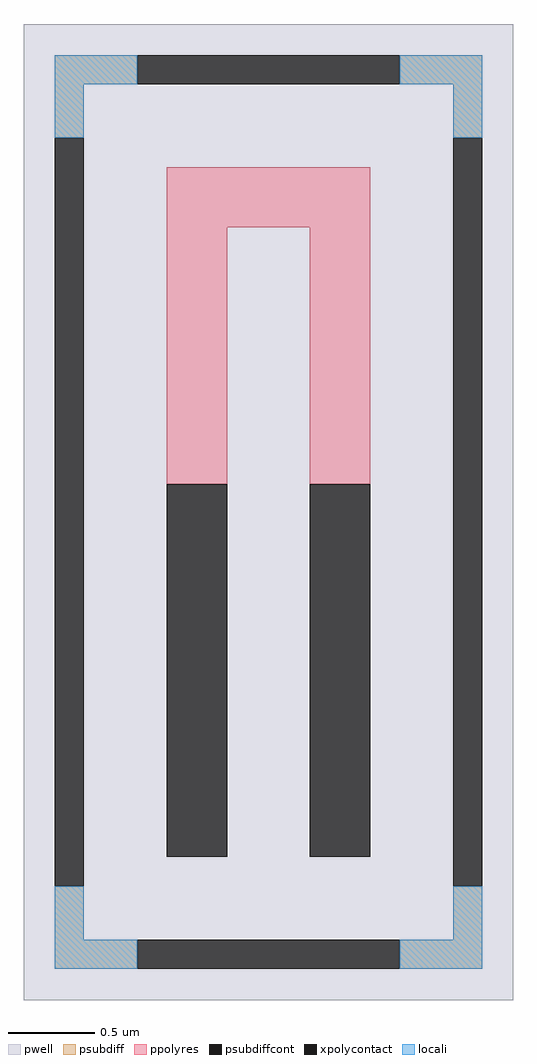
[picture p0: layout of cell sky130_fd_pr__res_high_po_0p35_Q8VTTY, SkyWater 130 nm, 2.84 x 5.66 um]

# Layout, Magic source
magic
tech sky130A
<< pwell >>
rect -142 -283 142 283
<< psubdiff >>
rect -124 248 -76 265
rect 76 248 124 265
rect -124 217 -107 248
rect 107 217 124 248
rect -124 -248 -107 -217
rect 107 -248 124 -217
rect -124 -265 -76 -248
rect 76 -265 124 -248
<< psubdiffcont >>
rect -76 248 76 265
rect -124 -217 -107 217
rect 107 -217 124 217
rect -76 -265 76 -248
<< xpolycontact >>
rect -59 -200 -24 16
rect 24 -200 59 16
<< ppolyres >>
rect -59 165 59 200
rect -59 16 -24 165
rect 24 16 59 165
<< locali >>
rect -124 248 -76 265
rect 76 248 124 265
rect -124 217 -107 248
rect 107 217 124 248
rect -124 -248 -107 -217
rect 107 -248 124 -217
rect -124 -265 -76 -248
rect 76 -265 124 -248
<< properties >>
string FIXED_BBOX -115 -256 115 256
string gencell sky130_fd_pr__res_high_po_0p35
string library sky130
string parameters w 0.35 l 4 m 1 nx 2 wmin 0.350 lmin 0.50 rho 319.8 val 8.742k dummy 0 dw 0.0 term 194.82 sterm 0.0 caplen 0 guard 1 glc 1 grc 1 gtc 1 gbc 1 compatible {sky130_fd_pr__res_high_po_0p35  sky130_fd_pr__res_high_po_0p69 sky130_fd_pr__res_high_po_1p41  sky130_fd_pr__res_high_po_2p85 sky130_fd_pr__res_high_po_5p73} snake 1 full_metal 1 wmax 0.350 vias 1 n_guard 0 hv_guard 0 viagb 0 viagt 0 viagl 0 viagr 0
<< end >>
